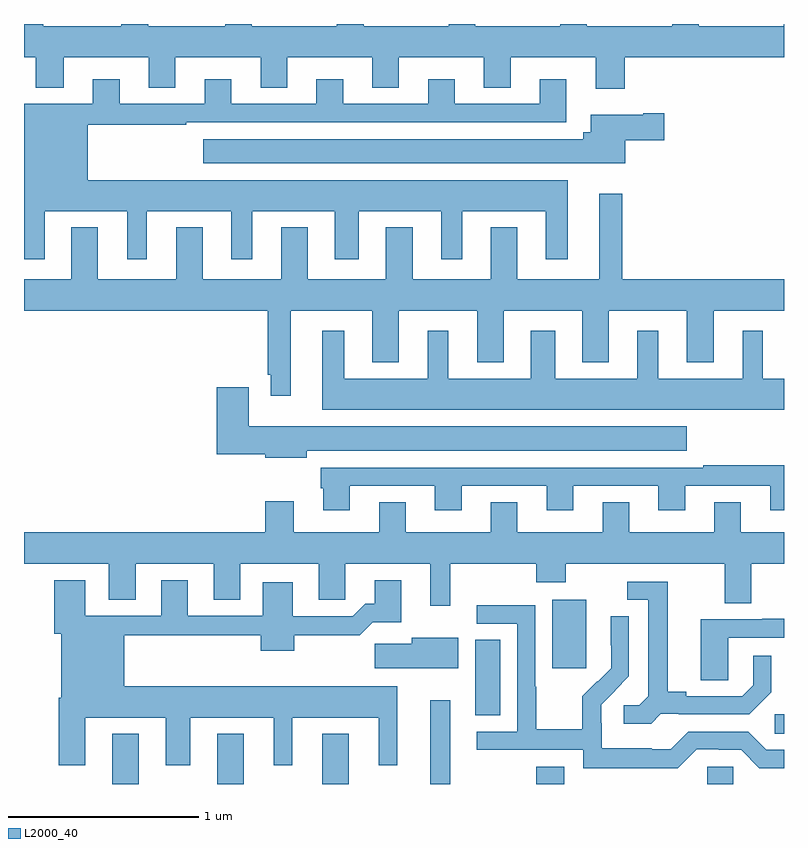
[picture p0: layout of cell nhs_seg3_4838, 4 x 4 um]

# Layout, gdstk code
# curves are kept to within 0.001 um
import gdstk
lib = gdstk.Library(unit=1e-6, precision=1e-09)
def R(c, l, rs):  # rectangles x0, y0, x1, y1
    for r in rs: c.add(gdstk.rectangle(r[:2], r[2:], *l))
def A(c, l, x, y, w, h, nx, ny, dx, dy):  # array of equal rectangles
    R(c, l, [(x+i*dx, y+j*dy, x+i*dx+w, y+j*dy+h) for i in range(nx) for j in range(ny)])
def P(c, l, *ps):  # polygons
    for p in ps: c.add(gdstk.Polygon(p, *l))
L2000_40 = (2000, 40)

nhs_seg3_4838 = lib.new_cell('nhs_seg3_4838')
A(nhs_seg3_4838, L2000_40, 371.465, 722.4, 0.14, 0.265, 3, 1, 0.552, 0)
R(nhs_seg3_4838, L2000_40, [(373.139,722.4,373.243,722.842), (373.696,722.4,373.843,722.491), (374.595,722.4,374.733,722.49), (374.952,722.665,375,722.766), (373.376,722.761,373.507,723.158), (373.781,723.009,373.96,723.37)])
P(nhs_seg3_4838, L2000_40, [(374.162,726.224),(375,726.224),(375,726.4),(374.999,726.4),(374.999,726.388),(374.551,726.388),(374.551,726.4),(374.411,726.4),(374.411,726.388),(373.963,726.388),(373.963,726.4),(373.823,726.4),(373.823,726.388),(373.375,726.388),(373.375,726.4),(373.235,726.4),(373.235,726.388),(372.787,726.388),(372.787,726.4),(372.647,726.4),(372.647,726.388),(372.199,726.388),(372.199,726.4),(372.059,726.4),(372.059,726.388),(371.653,726.388),(371.653,726.4),(371.513,726.4),(371.513,726.388),(371.101,726.388),(371.101,726.4),(371,726.4),(371,726.224),(371.062,726.224),(371.062,726.065),(371.209,726.065),(371.209,726.224),(371.657,726.224),(371.657,726.064),(371.797,726.064),(371.797,726.224),(372.245,726.224),(372.245,726.064),(372.385,726.064),(372.385,726.224),(372.833,726.224),(372.833,726.064),(372.973,726.064),(372.973,726.224),(373.421,726.224),(373.421,726.064),(373.561,726.064),(373.561,726.224),(374.009,726.224),(374.009,726.06),(374.162,726.06)],
  [(371.11,725.414),(371.543,725.414),(371.543,725.163),(371.647,725.163),(371.647,725.414),(372.092,725.414),(372.092,725.163),(372.202,725.163),(372.202,725.414),(372.635,725.414),(372.635,725.163),(372.763,725.163),(372.763,725.414),(373.196,725.414),(373.196,725.163),(373.306,725.163),(373.306,725.414),(373.745,725.414),(373.745,725.163),(373.861,725.163),(373.861,725.578),(371.335,725.578),(371.335,725.871),(371.855,725.871),(371.855,725.883),(373.855,725.883),(373.855,726.109),(373.715,726.109),(373.715,725.979),(373.267,725.979),(373.267,726.109),(373.127,726.109),(373.127,725.979),(372.679,725.979),(372.679,726.109),(372.539,726.109),(372.539,725.979),(372.091,725.979),(372.091,726.109),(371.951,726.109),(371.951,725.979),(371.503,725.979),(371.503,726.109),(371.363,726.109),(371.363,725.98),(371,725.98),(371,725.163),(371.11,725.163)],
  [(374.164,725.789),(374.371,725.789),(374.371,725.931),(374.258,725.931),(374.258,725.923),(373.982,725.923),(373.982,725.83),(373.943,725.83),(373.943,725.794),(371.943,725.794),(371.943,725.666),(374.164,725.666)],
  [(372.403,724.892),(372.833,724.892),(372.833,724.619),(372.973,724.619),(372.973,724.892),(373.385,724.892),(373.385,724.619),(373.525,724.619),(373.525,724.892),(373.937,724.892),(373.937,724.619),(374.077,724.619),(374.077,724.892),(374.489,724.892),(374.489,724.619),(374.629,724.619),(374.629,724.892),(375,724.892),(375,725.056),(374.149,725.056),(374.149,725.506),(374.027,725.506),(374.027,725.056),(373.597,725.056),(373.597,725.329),(373.457,725.329),(373.457,725.056),(373.045,725.056),(373.045,725.329),(372.905,725.329),(372.905,725.056),(372.493,725.056),(372.493,725.329),(372.353,725.329),(372.353,725.056),(371.941,725.056),(371.941,725.329),(371.801,725.329),(371.801,725.056),(371.389,725.056),(371.389,725.329),(371.249,725.329),(371.249,725.056),(371,725.056),(371,724.892),(372.282,724.892),(372.282,724.555),(372.299,724.555),(372.299,724.443),(372.403,724.443)],
  [(375,724.534),(374.887,724.534),(374.887,724.786),(374.783,724.786),(374.783,724.534),(374.338,724.534),(374.338,724.786),(374.228,724.786),(374.228,724.534),(373.795,724.534),(373.795,724.786),(373.667,724.786),(373.667,724.534),(373.234,724.534),(373.234,724.786),(373.124,724.786),(373.124,724.534),(372.685,724.534),(372.685,724.786),(372.569,724.786),(372.569,724.37),(375,724.37)],
  [(372.487,724.154),(374.488,724.154),(374.488,724.282),(372.184,724.282),(372.184,724.489),(372.014,724.489),(372.014,724.136),(372.27,724.136),(372.27,724.118),(372.487,724.118)],
  [(372.715,723.969),(373.163,723.969),(373.163,723.84),(373.303,723.84),(373.303,723.969),(373.751,723.969),(373.751,723.84),(373.891,723.84),(373.891,723.969),(374.339,723.969),(374.339,723.84),(374.479,723.84),(374.479,723.969),(374.927,723.969),(374.927,723.84),(375,723.84),(375,724.078),(374.575,724.078),(374.575,724.065),(372.563,724.065),(372.563,723.957),(372.575,723.957),(372.575,723.84),(372.715,723.84)],
  [(373.243,723.56),(373.696,723.56),(373.696,723.461),(373.851,723.461),(373.851,723.56),(374.687,723.56),(374.687,723.352),(374.827,723.352),(374.827,723.56),(375,723.56),(375,723.724),(374.773,723.724),(374.773,723.884),(374.633,723.884),(374.633,723.724),(374.185,723.724),(374.185,723.884),(374.045,723.884),(374.045,723.724),(373.597,723.724),(373.597,723.884),(373.457,723.884),(373.457,723.724),(373.009,723.724),(373.009,723.884),(372.869,723.884),(372.869,723.724),(372.421,723.724),(372.421,723.889),(372.269,723.889),(372.269,723.724),(371,723.724),(371,723.56),(371.447,723.56),(371.447,723.37),(371.587,723.37),(371.587,723.56),(371.999,723.56),(371.999,723.37),(372.139,723.37),(372.139,723.56),(372.551,723.56),(372.551,723.37),(372.69,723.37),(372.69,723.56),(373.139,723.56),(373.139,723.339),(373.243,723.339)],
  [(371.323,722.75),(371.747,722.75),(371.747,722.499),(371.875,722.499),(371.875,722.75),(372.314,722.75),(372.314,722.499),(372.412,722.499),(372.412,722.75),(372.866,722.75),(372.866,722.499),(372.964,722.499),(372.964,722.914),(371.527,722.914),(371.527,723.184),(372.245,723.184),(372.245,723.101),(372.423,723.101),(372.423,723.182),(372.767,723.182),(372.836,723.251),(372.985,723.251),(372.985,723.472),(372.845,723.472),(372.845,723.349),(372.796,723.349),(372.729,723.282),(372.415,723.282),(372.415,723.463),(372.257,723.463),(372.257,723.285),(371.863,723.285),(371.863,723.472),(371.723,723.472),(371.723,723.285),(371.323,723.285),(371.323,723.472),(371.159,723.472),(371.159,723.192),(371.195,723.192),(371.195,722.854),(371.183,722.854),(371.183,722.499),(371.323,722.499)],
  [(374.352,722.769),(374.446,722.769),(374.446,722.766),(374.818,722.766),(374.934,722.882),(374.934,723.076),(374.837,723.076),(374.837,722.919),(374.78,722.862),(374.485,722.862),(374.485,722.885),(374.389,722.885),(374.389,723.465),(374.175,723.465),(374.175,723.369),(374.285,723.369),(374.285,722.861),(374.238,722.814),(374.157,722.814),(374.157,722.717),(374.3,722.717)],
  [(374.541,722.583),(374.657,722.583),(374.657,722.58),(374.775,722.58),(374.871,722.484),(375,722.484),(375,722.58),(374.907,722.58),(374.811,722.676),(374.496,722.676),(374.403,722.583),(374.303,722.583),(374.303,722.587),(374.04,722.587),(374.04,722.721),(374.038,722.721),(374.038,722.818),(374.184,722.966),(374.184,723.284),(374.088,723.284),(374.088,723.13),(374.09,723.13),(374.09,723.008),(374.019,722.937),(374.016,722.94),(373.939,722.863),(373.939,722.689),(373.695,722.689),(373.695,722.912),(373.692,722.912),(373.692,723.342),(373.383,723.342),(373.383,723.243),(373.596,723.243),(373.596,722.676),(373.383,722.676),(373.383,722.58),(373.944,722.58),(373.944,722.483),(374.441,722.483)],
  [(374.706,723.171),(375,723.171),(375,723.271),(374.885,723.271),(374.885,723.267),(374.561,723.267),(374.561,722.947),(374.706,722.947)],
  [(373.285,723.169),(373.04,723.169),(373.04,723.137),(372.846,723.137),(372.846,723.008),(373.285,723.008)])

lib.write_gds('nhs_seg3_4838.gds')
